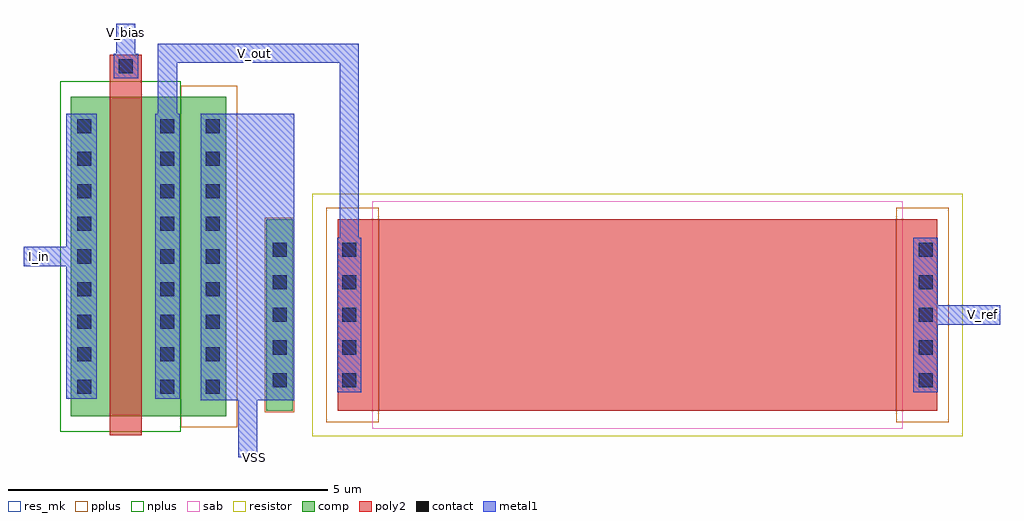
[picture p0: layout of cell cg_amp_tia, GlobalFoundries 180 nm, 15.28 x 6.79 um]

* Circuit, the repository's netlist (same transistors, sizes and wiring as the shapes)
* Extracted by KLayout with GF180MCU LVS runset on : 31/10/2026 13:32

.SUBCKT cg_amp_tia V_out V_ref I_in VSS
R$1 V_out V_ref VSS 2700 ppolyf_u_1k L=8.1U W=3U
M$2 V_out V_ref I_in VSS nfet_03v3 L=0.5U W=5U AS=2.175P AD=2.175P PS=9.24U
+ PD=9.24U
.ENDS cg_amp_tia

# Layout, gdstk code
import gdstk
lib = gdstk.Library(unit=1e-6, precision=5e-09)
def R(c, l, rs):  # rectangles x0, y0, x1, y1
    for r in rs: c.add(gdstk.rectangle(r[:2], r[2:], *l))
def A(c, l, x, y, w, h, nx, ny, dx, dy):  # array of equal rectangles
    R(c, l, [(x+i*dx, y+j*dy, x+i*dx+w, y+j*dy+h) for i in range(nx) for j in range(ny)])
comp = (22, 0)
poly2 = (30, 0)
pplus = (31, 0)
nplus = (32, 0)
contact = (33, 0)
metal1 = (34, 0)
sab = (49, 0)
resistor = (62, 0)
res_mk = (110, 5)

nfet = lib.new_cell('nfet')
R(nfet, comp, [(-0.42,0,0,5), (0,0,0.88,5), (0.88,0,1.3,5), (1.3,0,2.01,5)])
R(nfet, poly2, [(0.19,-0.3,0.69,5.3), (0.19,5.3,0.69,5.66)])
R(nfet, pplus, [(1.3,-0.17,2.18,5.17)])
R(nfet, nplus, [(-0.59,-0.24,1.3,5.24)])
A(nfet, contact, -0.32, 0.35, 0.22, 0.22, 1, 9, 0, 0.51)
A(nfet, contact, 0.98, 0.35, 0.22, 0.22, 1, 9, 0, 0.51)
A(nfet, contact, 1.69, 0.35, 0.22, 0.22, 1, 9, 0, 0.51)
R(nfet, contact, [(0.33,5.37,0.55,5.59)])
R(nfet, metal1, [(-0.4,0.27,-0.02,4.73), (0.9,0.27,1.28,4.73), (1.61,0.27,1.99,4.73), (0.25,5.29,0.63,5.67)])

ppolyf_u_high_rs_resisto = lib.new_cell('ppolyf_u_high_Rs_resistor')
R(ppolyf_u_high_rs_resisto, comp, [(-1.76,0,-1.34,3)])
R(ppolyf_u_high_rs_resisto, poly2, [(-0.64,0,8.74,3)])
R(ppolyf_u_high_rs_resisto, pplus, [(-0.82,-0.18,0,3.18), (8.1,-0.18,8.92,3.18), (-1.78,-0.02,-1.32,3.02)])
A(ppolyf_u_high_rs_resisto, contact, -1.66, 0.37, 0.22, 0.22, 1, 5, 0, 0.51)
A(ppolyf_u_high_rs_resisto, contact, -0.57, 0.37, 0.22, 0.22, 1, 5, 0, 0.51)
A(ppolyf_u_high_rs_resisto, contact, 8.45, 0.37, 0.22, 0.22, 1, 5, 0, 0.51)
R(ppolyf_u_high_rs_resisto, metal1, [(-1.74,0.29,-1.36,2.71), (-0.65,0.29,-0.27,2.71), (8.37,0.29,8.75,2.71)])
R(ppolyf_u_high_rs_resisto, sab, [(-0.1,-0.28,8.2,3.28)])
R(ppolyf_u_high_rs_resisto, resistor, [(-1.04,-0.4,9.14,3.4)])
R(ppolyf_u_high_rs_resisto, res_mk, [(0,0,8.1,3)])

cg_amp_tia = lib.new_cell('cg_amp_tia')
R(cg_amp_tia, metal1, [(4.965,2.8,6.43,7.28), (2.86,2.82,3.335,7.28), (4.255,2.82,4.635,7.28), (7.1,2.925,7.48,5.345), (16.12,2.925,16.5,5.345)])
cg_amp_tia.add(gdstk.FlexPath([(5.7,2.8),(5.7,1.905)], 0.3, ends="flush", simple_path=True, layer=34, datatype=0))  # metal1
cg_amp_tia.add(gdstk.FlexPath([(3.795,8.22),(3.795,8.695)], 0.3, ends="flush", simple_path=True, layer=34, datatype=0))  # metal1
cg_amp_tia.add(gdstk.FlexPath([(4.445,7.28),(4.445,8.23),(7.29,8.23),(7.29,5.345),(7.29,5.345)], 0.3, ends="flush", simple_path=True, layer=34, datatype=0))  # metal1
cg_amp_tia.add(gdstk.FlexPath([(2.88,5.05),(2.2,5.05)], 0.3, ends="flush", simple_path=True, layer=34, datatype=0))  # metal1
cg_amp_tia.add(gdstk.FlexPath([(16.5,4.135),(17.475,4.135)], 0.3, ends="flush", simple_path=True, layer=34, datatype=0))  # metal1
cg_amp_tia.add(gdstk.Reference(nfet, (3.355,2.55)))
cg_amp_tia.add(gdstk.Reference(ppolyf_u_high_rs_resisto, (7.75,2.635)))
cg_amp_tia.add(gdstk.Label('V_ref', (17.205,4.135), layer=34, texttype=10))
cg_amp_tia.add(gdstk.Label('V_bias', (3.795,8.555), layer=34, texttype=10))
cg_amp_tia.add(gdstk.Label('I_in', (2.44,5.05), layer=34, texttype=10))
cg_amp_tia.add(gdstk.Label('V_out', (5.8,8.23), layer=34, texttype=10))
cg_amp_tia.add(gdstk.Label('VSS', (5.8,1.905), layer=34, texttype=10))

lib.write_gds('cg_amp_tia.gds')
